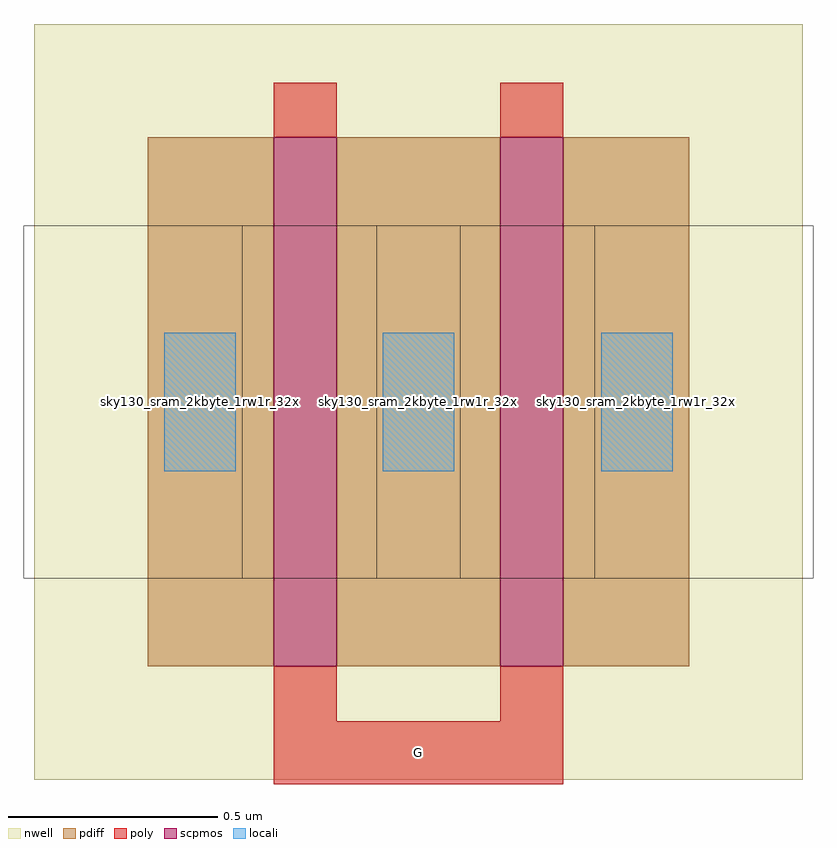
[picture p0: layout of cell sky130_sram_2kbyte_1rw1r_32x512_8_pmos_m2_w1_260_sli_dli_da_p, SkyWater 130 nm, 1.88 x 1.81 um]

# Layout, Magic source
magic
tech sky130A
magscale 1 2
<< nwell >>
rect -54 -54 312 306
<< scpmos >>
rect 60 0 90 252
rect 168 0 198 252
<< pdiff >>
rect 0 0 60 252
rect 90 0 168 252
rect 198 0 258 252
<< poly >>
rect 60 252 90 278
rect 168 252 198 278
rect 60 -26 90 0
rect 168 -26 198 0
rect 60 -56 198 -26
<< locali >>
rect 8 93 42 159
rect 112 93 146 159
rect 216 93 250 159
use sky130_sram_2kbyte_1rw1r_32x512_8_contact_12  sky130_sram_2kbyte_1rw1r_32x512_8_contact_12_2
transform 1 0 0 0 1 93
box -59 -51 109 117
use sky130_sram_2kbyte_1rw1r_32x512_8_contact_12  sky130_sram_2kbyte_1rw1r_32x512_8_contact_12_1
transform 1 0 104 0 1 93
box -59 -51 109 117
use sky130_sram_2kbyte_1rw1r_32x512_8_contact_12  sky130_sram_2kbyte_1rw1r_32x512_8_contact_12_0
transform 1 0 208 0 1 93
box -59 -51 109 117
<< labels >>
rlabel locali s 25 126 25 126 4 S
rlabel locali s 233 126 233 126 4 S
rlabel locali s 129 126 129 126 4 D
rlabel poly s 129 -41 129 -41 4 G
<< properties >>
string FIXED_BBOX -54 -56 312 306
<< end >>
